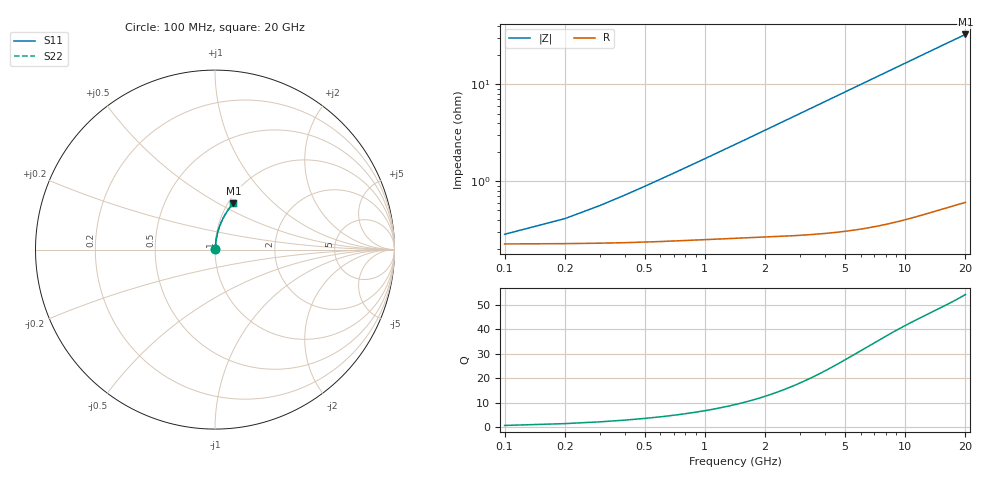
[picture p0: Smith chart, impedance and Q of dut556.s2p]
! Touchstone file exported from HFSS 2026.1.0
!  File:  C:/ffzhzh/LocalFiles/Ansys_Project_Files/temp_train_BSMRDL_556_1783015234_4048.aedt
!  Generated:  02:02:03 AM Jul  3, 2026
!  Design:  BSMRDL
!  Project:  temp_train_BSMRDL_556_1783015234_4048
! Variables:
!  h_bsmrdl = 2.67um
!  h_ox = 20um
!  h_rdl = 5um
!  h_sub = 80um
!  h_tmrdl = 5um
!  h_tsv = 80um
!  h_via = 3um
!  l_bsmrdl = 182.17um
!  l_sub = 582.17um
!  l_tmrdl = 200um
!  m_sub = 200um
!  pitch = 59.68um
!  r_tsv = 6um
!  s_tmrdl = 10um
!  w_bsmrdl = 11.87um
!  w_sub = 500um
!  w_tmrdl = 12um
!  x_tsv_center1 = 206um
!  x_tsv_center2 = 400.04um
!  x_tsv_center3 = 612.04um
!  x_tsv_center4 = 806.08um
!  x_tsv_center5 = 1018.08um
!  x_tsv_center6 = 1212.12um
# GHz S MA R 50.000000
! Terminal data exported
! Port[1] = BSM_RDL1_1_T1
! Port[2] = BSM_RDL1_1_T2
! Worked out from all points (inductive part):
!   200 points, 100 MHz to 20 GHz, reference 50 ohm
!   read as one part in series: L = 270 pH near 500 MHz
!   highest Q = 54.2 at 20 GHz (marker M1), where L = 261 pH
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0.1  0.002713 34.1  0.9978 -0.1  0.9978 -0.1  0.002713 34.1
! Gamma 0 0 0 0
! Port Impedance 50 0 50 0
0.2  0.003792 53.2  0.9977 -0.2  0.9977 -0.2  0.003792 53.2
0.3  0.005098 63.1  0.9977 -0.3  0.9977 -0.3  0.005098 63.1
0.4  0.006491 68.7  0.9977 -0.4  0.9977 -0.4  0.006491 68.7
0.5  0.007919 72.2  0.9976 -0.5  0.9976 -0.5  0.007919 72.2
0.6  0.009362 74.7  0.9976 -0.6  0.9976 -0.6  0.009362 74.7
0.8  0.01227 77.7  0.9975 -0.9  0.9975 -0.9  0.01227 77.7
1.1  0.01664 80.2  0.9974 -1.2  0.9974 -1.2  0.01664 80.2
1.5  0.02248 81.8  0.9972 -1.6  0.9972 -1.6  0.02248 81.8
1.8  0.02687 82.5  0.997 -1.9  0.997 -1.9  0.02687 82.5
2.1  0.03126 82.9  0.9969 -2.2  0.9969 -2.2  0.03126 82.9
2.7  0.04004 83.2  0.9965 -2.9  0.9965 -2.9  0.04004 83.2
3.5  0.05175 83.2  0.9959 -3.7  0.9959 -3.7  0.05175 83.2
4.2  0.06198 82.9  0.9952 -4.5  0.9952 -4.5  0.06198 82.9
5  0.07363 82.4  0.9943 -5.3  0.9943 -5.3  0.07363 82.4
5.9  0.08667 81.7  0.9931 -6.2  0.9931 -6.2  0.08667 81.7
6.8  0.09965 80.9  0.9917 -7.2  0.9917 -7.2  0.09965 80.9
8.3  0.1211 79.6  0.989 -8.7  0.989 -8.7  0.1211 79.6
10.1  0.1464 77.8  0.9853 -10.6  0.9853 -10.6  0.1464 77.9
13.4  0.1918 74.7  0.9768 -14.0  0.9768 -14.0  0.1918 74.7
16.7  0.2354 71.5  0.9667 -17.2  0.9667 -17.2  0.2354 71.5
20  0.2772 68.4  0.9551 -20.4  0.9551 -20.4  0.2772 68.4
